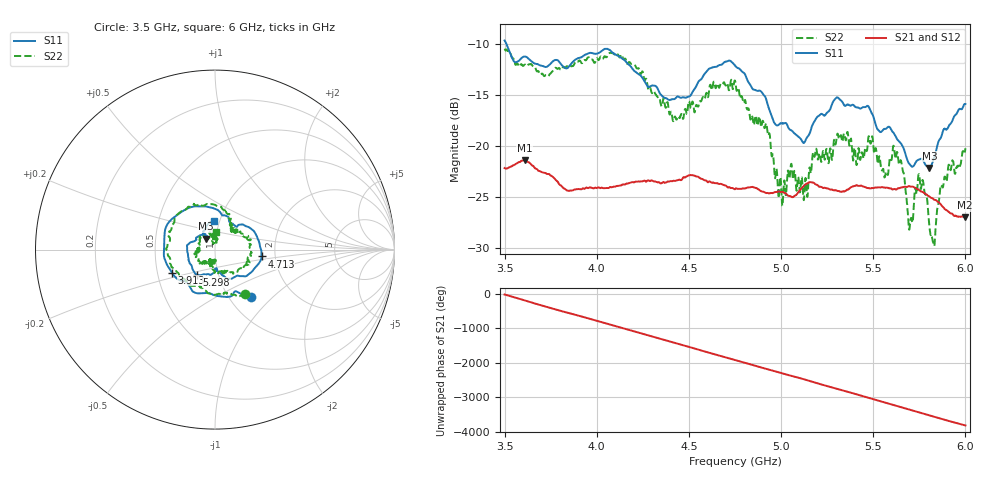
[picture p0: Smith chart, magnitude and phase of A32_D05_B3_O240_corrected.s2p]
! Created with skrf 1.9.0 (http://scikit-rf.org).
# Hz S RI R 50.0
!freq ReS11 ImS11 ReS21 ImS21 ReS12 ImS12 ReS22 ImS22
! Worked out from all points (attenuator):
!   1601 points, 3.5 GHz to 6 GHz, reference 50 ohm
!   highest |S21| = -21.38 dB at 3.609 GHz (marker M1); lowest = -27.0 dB at 5.995 GHz (marker M2)
!   lowest |S11| = -22.1 dB at 5.805 GHz (marker M3), VSWR 1.17, Z = 44.9 + j5.45 ohm
!   |S11| at or under -10 dB: 3.51 GHz to end of sweep
!   |S22| runs from -29.8 to -10.4 dB; largest |S21 - S12| = 0.001
!   S11 on the Smith chart (normalised r, x): 3.5 GHz: 1.26, -0.74; 3.913 GHz: 0.60, -0.16; 4.713 GHz: 1.69, -0.14; 5.298 GHz: 0.79, -0.23; 6 GHz: 0.94, +0.31
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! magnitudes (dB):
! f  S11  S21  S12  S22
! 3.5 GHz  -9.6  -22.1  -22.1  -10.4
! 3.609 GHz  -11.2  -21.4  -21.4  -12.0
! 3.913 GHz  -11.3  -24.2  -24.2  -11.7
! 3.917 GHz  -11.3  -24.2  -24.2  -11.9
! 4.127 GHz  -11.3  -23.9  -23.8  -11.3
! 4.334 GHz  -14.5  -23.5  -23.5  -15.3
! 4.423 GHz  -15.4  -23.4  -23.4  -17.1
! 4.713 GHz  -11.6  -24.0  -24.0  -14.1
! 4.75 GHz  -12.1  -24.2  -24.1  -13.6
! 4.927 GHz  -15.8  -24.6  -24.6  -18.7
! 4.997 GHz  -17.7  -24.5  -24.5  -23.0
! 5.167 GHz  -18.1  -23.6  -23.5  -21.7
! 5.298 GHz  -15.3  -24.3  -24.3  -19.6
! 5.584 GHz  -18.1  -24.1  -24.1  -22.0
! 5.641 GHz  -19.5  -24.1  -24.1  -21.8
! 5.703 GHz  -21.9  -24.0  -24.0  -27.2
! 5.758 GHz  -21.2  -24.4  -24.4  -24.2
! 5.805 GHz  -22.1  -24.9  -24.9  -27.8
! 5.827 GHz  -21.3  -25.2  -25.2  -29.5
! 5.875 GHz  -18.7  -25.9  -25.8  -24.0
! 5.995 GHz  -15.9  -27.0  -26.9  -20.7
! 6 GHz  -15.9  -27.0  -26.9  -20.2
